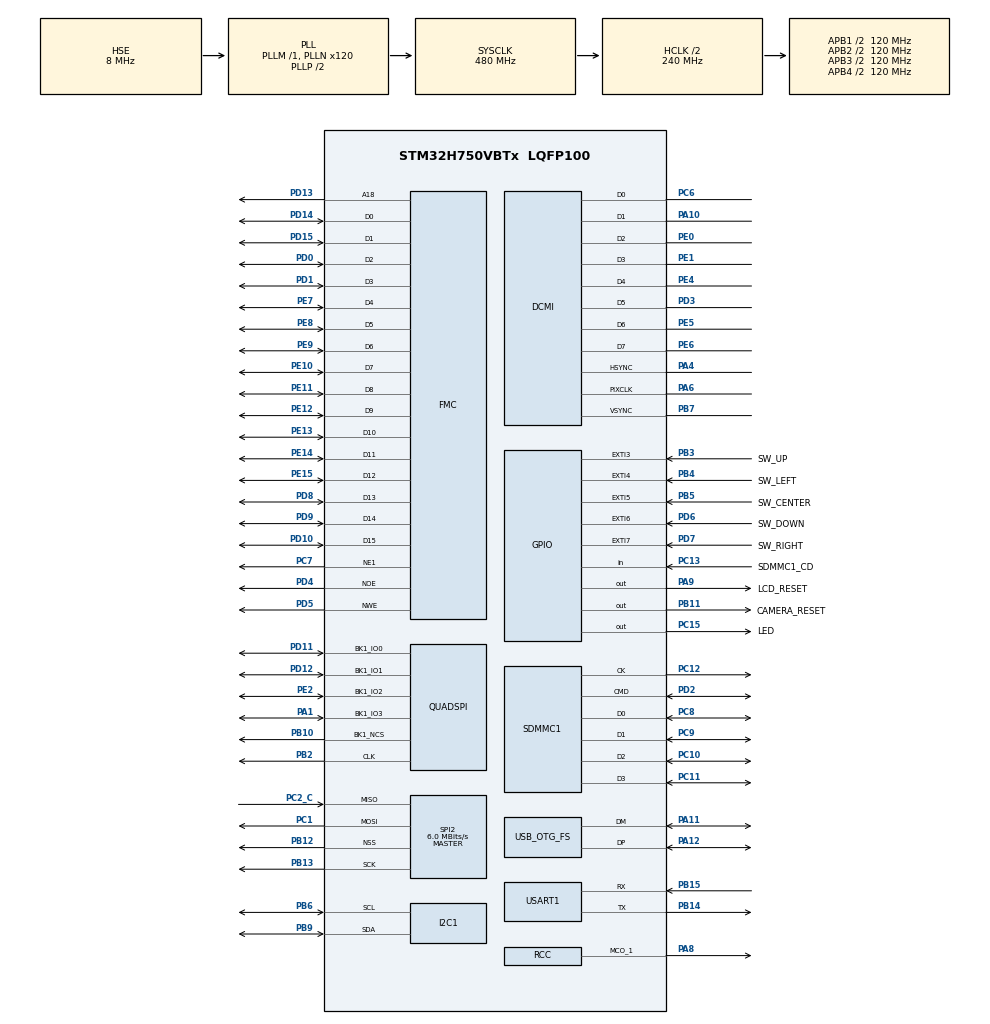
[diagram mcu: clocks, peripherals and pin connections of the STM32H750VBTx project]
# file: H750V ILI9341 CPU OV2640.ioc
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DCMI.HSPolarity=DCMI_HSPOLARITY_LOW
DCMI.PCKPolarity=DCMI_PCKPOLARITY_RISING
DCMI.VSPolarity=DCMI_VSPOLARITY_LOW
Dma.DCMI.0.Direction=DMA_PERIPH_TO_MEMORY
Dma.DCMI.0.EventEnable=DISABLE
Dma.DCMI.0.FIFOMode=DMA_FIFOMODE_ENABLE
Dma.DCMI.0.FIFOThreshold=DMA_FIFO_THRESHOLD_FULL
Dma.DCMI.0.Instance=DMA2_Stream1
Dma.DCMI.0.MemBurst=DMA_MBURST_SINGLE
Dma.DCMI.0.MemDataAlignment=DMA_MDATAALIGN_WORD
Dma.DCMI.0.MemInc=DMA_MINC_ENABLE
Dma.DCMI.0.Mode=DMA_CIRCULAR
Dma.DCMI.0.PeriphBurst=DMA_PBURST_SINGLE
Dma.DCMI.0.PeriphDataAlignment=DMA_PDATAALIGN_WORD
Dma.DCMI.0.PeriphInc=DMA_PINC_DISABLE
Dma.DCMI.0.Polarity=HAL_DMAMUX_REQ_GEN_RISING
Dma.DCMI.0.Priority=DMA_PRIORITY_LOW
Dma.DCMI.0.RequestNumber=1
Dma.DCMI.0.SignalID=NONE
Dma.DCMI.0.SyncEnable=DISABLE
Dma.DCMI.0.SyncPolarity=HAL_DMAMUX_SYNC_NO_EVENT
Dma.DCMI.0.SyncRequestNumber=1
Dma.DCMI.0.SyncSignalID=NONE
Dma.MEMTOMEM.1.Direction=DMA_MEMORY_TO_MEMORY
Dma.MEMTOMEM.1.EventEnable=DISABLE
Dma.MEMTOMEM.1.FIFOMode=DMA_FIFOMODE_ENABLE
Dma.MEMTOMEM.1.FIFOThreshold=DMA_FIFO_THRESHOLD_FULL
Dma.MEMTOMEM.1.Instance=DMA1_Stream0
Dma.MEMTOMEM.1.MemBurst=DMA_MBURST_SINGLE
Dma.MEMTOMEM.1.MemDataAlignment=DMA_MDATAALIGN_HALFWORD
Dma.MEMTOMEM.1.MemInc=DMA_MINC_DISABLE
Dma.MEMTOMEM.1.Mode=DMA_NORMAL
Dma.MEMTOMEM.1.PeriphBurst=DMA_PBURST_SINGLE
Dma.MEMTOMEM.1.PeriphDataAlignment=DMA_PDATAALIGN_HALFWORD
Dma.MEMTOMEM.1.PeriphInc=DMA_PINC_ENABLE
Dma.MEMTOMEM.1.Polarity=HAL_DMAMUX_REQ_GEN_RISING
Dma.MEMTOMEM.1.Priority=DMA_PRIORITY_LOW
Dma.MEMTOMEM.1.RequestNumber=1
Dma.MEMTOMEM.1.SignalID=NONE
Dma.MEMTOMEM.1.SyncEnable=DISABLE
Dma.MEMTOMEM.1.SyncPolarity=HAL_DMAMUX_SYNC_NO_EVENT
Dma.MEMTOMEM.1.SyncRequestNumber=1
Dma.MEMTOMEM.1.SyncSignalID=NONE
Dma.Request0=DCMI
Dma.Request1=MEMTOMEM
FMC.AddressSetupTime1=10
FMC.BankMapConfig=FMC_SWAPBMAP_SDRAM_SRAM
FMC.BusTurnAroundDuration1=10
FMC.DataSetupTime1=10
FMC.ExtendedAddressSetupTime1=2
FMC.ExtendedBusTurnAroundDuration1=2
FMC.ExtendedDataSetupTime1=2
FMC.ExtendedMode1=FMC_EXTENDED_MODE_ENABLE
I2C1.Timing=0x307075B1
Mcu.Family=STM32H7
Mcu.Name=STM32H750VBTx
Mcu.Package=LQFP100
NVIC.DCMI_IRQn=true\:0\:0\:false\:false\:true\:true\:true
NVIC.DMA1_Stream0_IRQn=true\:0\:0\:false\:false\:true\:true\:true
NVIC.DMA2_Stream1_IRQn=true\:0\:0\:false\:false\:true\:false\:true
NVIC.EXTI3_IRQn=true\:0\:0\:false\:false\:true\:true\:true
NVIC.EXTI4_IRQn=true\:0\:0\:false\:false\:true\:true\:true
NVIC.EXTI9_5_IRQn=true\:0\:0\:false\:false\:true\:true\:true
NVIC.PriorityGroup=NVIC_PRIORITYGROUP_4
PA1.Mode=Single Bank 1
PA1.Signal=QUADSPI_BK1_IO3
PA10.Mode=Slave_8_bits_External_Synchro
PA10.Signal=DCMI_D1
PA11.Mode=Device_Only
PA11.Signal=USB_OTG_FS_DM
PA12.Mode=Device_Only
PA12.Signal=USB_OTG_FS_DP
PA13\ (JTMS/SWDIO).Mode=Serial_Wire
PA13\ (JTMS/SWDIO).Signal=DEBUG_JTMS-SWDIO
PA14\ (JTCK/SWCLK).Mode=Serial_Wire
PA14\ (JTCK/SWCLK).Signal=DEBUG_JTCK-SWCLK
PA4.Mode=Slave_8_bits_External_Synchro
PA4.Signal=DCMI_HSYNC
PA6.Mode=Slave_8_bits_External_Synchro
PA6.Signal=DCMI_PIXCLK
PA8.Mode=Clock-out-1
PA8.Signal=RCC_MCO_1
PA9.GPIO_Label=LCD_RESET
PA9.Signal=GPIO_Output
PB10.Mode=Single Bank 1
PB10.Signal=QUADSPI_BK1_NCS
PB11.GPIO_Label=CAMERA_RESET
PB11.Signal=GPIO_Output
PB12.Mode=NSS_Signal_Hard_Output
PB12.Signal=SPI2_NSS
PB13.Mode=Full_Duplex_Master
PB13.Signal=SPI2_SCK
PB14.Mode=Asynchronous
PB14.Signal=USART1_TX
PB15.Mode=Asynchronous
PB15.Signal=USART1_RX
PB2.Mode=Single Bank 1
PB2.Signal=QUADSPI_CLK
PB3\ (JTDO/TRACESWO).GPIO_Label=SW_UP
PB3\ (JTDO/TRACESWO).GPIO_ModeDefaultEXTI=GPIO_MODE_IT_FALLING
PB3\ (JTDO/TRACESWO).GPIO_PuPd=GPIO_PULLUP
PB3\ (JTDO/TRACESWO).Signal=GPXTI3
PB4\ (NJTRST).GPIO_Label=SW_LEFT
PB4\ (NJTRST).GPIO_ModeDefaultEXTI=GPIO_MODE_IT_FALLING
PB4\ (NJTRST).GPIO_PuPd=GPIO_PULLUP
PB4\ (NJTRST).Signal=GPXTI4
PB5.GPIO_Label=SW_CENTER
PB5.GPIO_ModeDefaultEXTI=GPIO_MODE_IT_FALLING
PB5.GPIO_PuPd=GPIO_PULLUP
PB5.Signal=GPXTI5
PB6.Mode=I2C
PB6.Signal=I2C1_SCL
PB7.Mode=Slave_8_bits_External_Synchro
PB7.Signal=DCMI_VSYNC
PB9.Mode=I2C
PB9.Signal=I2C1_SDA
PC1.Mode=Full_Duplex_Master
PC1.Signal=SPI2_MOSI
PC10.Mode=SD_4_bits_Wide_bus
PC10.Signal=SDMMC1_D2
PC11.Mode=SD_4_bits_Wide_bus
PC11.Signal=SDMMC1_D3
PC12.Mode=SD_4_bits_Wide_bus
PC12.Signal=SDMMC1_CK
PC13.GPIO_Label=SDMMC1_CD
PC13.Signal=GPIO_Input
PC15-OSC32_OUT\ (OSC32_OUT).GPIO_Label=LED
PC15-OSC32_OUT\ (OSC32_OUT).Signal=GPIO_Output
PC2_C.Mode=Full_Duplex_Master
PC2_C.Signal=SPI2_MISO
PC6.Mode=Slave_8_bits_External_Synchro
PC6.Signal=DCMI_D0
PC7.Mode=NorPsramChipSelect1_1
PC7.Signal=FMC_NE1
PC8.Mode=SD_4_bits_Wide_bus
PC8.Signal=SDMMC1_D0
PC9.Mode=SD_4_bits_Wide_bus
PC9.Signal=SDMMC1_D1
PD0.Signal=FMC_D2_DA2
PD1.Signal=FMC_D3_DA3
PD10.Signal=FMC_D15_DA15
PD11.Mode=Single Bank 1
PD11.Signal=QUADSPI_BK1_IO0
PD12.Mode=Single Bank 1
PD12.Signal=QUADSPI_BK1_IO1
PD13.Signal=FMC_A18
PD14.Signal=FMC_D0_DA0
PD15.Signal=FMC_D1_DA1
PD2.Mode=SD_4_bits_Wide_bus
PD2.Signal=SDMMC1_CMD
PD3.Mode=Slave_8_bits_External_Synchro
PD3.Signal=DCMI_D5
PD4.Signal=FMC_NOE
PD5.Signal=FMC_NWE
PD6.GPIO_Label=SW_DOWN
PD6.GPIO_ModeDefaultEXTI=GPIO_MODE_IT_FALLING
PD6.GPIO_PuPd=GPIO_PULLUP
PD6.Signal=GPXTI6
PD7.GPIO_Label=SW_RIGHT
PD7.GPIO_ModeDefaultEXTI=GPIO_MODE_IT_FALLING
PD7.GPIO_PuPd=GPIO_PULLUP
PD7.Signal=GPXTI7
PD8.Signal=FMC_D13_DA13
PD9.Signal=FMC_D14_DA14
PE0.Mode=Slave_8_bits_External_Synchro
PE0.Signal=DCMI_D2
PE1.Mode=Slave_8_bits_External_Synchro
PE1.Signal=DCMI_D3
PE10.Signal=FMC_D7_DA7
PE11.Signal=FMC_D8_DA8
PE12.Signal=FMC_D9_DA9
PE13.Signal=FMC_D10_DA10
PE14.Signal=FMC_D11_DA11
PE15.Signal=FMC_D12_DA12
PE2.Mode=Single Bank 1
PE2.Signal=QUADSPI_BK1_IO2
PE4.Mode=Slave_8_bits_External_Synchro
PE4.Signal=DCMI_D4
PE5.Mode=Slave_8_bits_External_Synchro
PE5.Signal=DCMI_D6
PE6.Mode=Slave_8_bits_External_Synchro
PE6.Signal=DCMI_D7
PE7.Signal=FMC_D4_DA4
PE8.Signal=FMC_D5_DA5
PE9.Signal=FMC_D6_DA6
PH0-OSC_IN\ (PH0).Mode=HSE-External-Oscillator
PH0-OSC_IN\ (PH0).Signal=RCC_OSC_IN
PH1-OSC_OUT\ (PH1).Mode=HSE-External-Oscillator
PH1-OSC_OUT\ (PH1).Signal=RCC_OSC_OUT
ProjectManager.HeapSize=0x200
ProjectManager.StackSize=0x400
ProjectManager.TargetToolchain=STM32CubeIDE
RCC.ADCFreq_Value=120000000
RCC.APB1Freq_Value=120000000
RCC.APB2Freq_Value=120000000
RCC.APB3Freq_Value=120000000
RCC.APB4Freq_Value=120000000
RCC.CortexFreq_Value=480000000
RCC.D1PPRE=RCC_APB3_DIV2
RCC.D2PPRE1=RCC_APB1_DIV2
RCC.D2PPRE2=RCC_APB2_DIV2
RCC.D3PPRE=RCC_APB4_DIV2
RCC.DIVM1=1
RCC.DIVM2=1
RCC.DIVN1=120
RCC.DIVN2=30
RCC.DIVQ1=20
RCC.DIVR2=10
RCC.HCLKFreq_Value=240000000
RCC.HPRE=RCC_HCLK_DIV2
RCC.HSE_VALUE=8000000
RCC.PLL2FRACN=0
RCC.PLLFRACN=0
RCC.QSPICLockSelection=RCC_QSPICLKSOURCE_PLL2
RCC.RCC_MCO1Source=RCC_MCO1SOURCE_PLL1QCLK
RCC.RCC_MCODiv1=RCC_MCODIV_2
RCC.SDMMC1CLockSelection=RCC_SDMMCCLKSOURCE_PLL2
RCC.SYSCLKFreq_VALUE=480000000
RCC.SYSCLKSource=RCC_SYSCLKSOURCE_PLLCLK
RCC.USBFreq_Value=48000000
SH.FMC_A18.0=FMC_A18,A18_1
SH.FMC_D0_DA0.0=FMC_D0,16b-d1
SH.FMC_D10_DA10.0=FMC_D10,16b-d1
SH.FMC_D11_DA11.0=FMC_D11,16b-d1
SH.FMC_D12_DA12.0=FMC_D12,16b-d1
SH.FMC_D13_DA13.0=FMC_D13,16b-d1
SH.FMC_D14_DA14.0=FMC_D14,16b-d1
SH.FMC_D15_DA15.0=FMC_D15,16b-d1
SH.FMC_D1_DA1.0=FMC_D1,16b-d1
SH.FMC_D2_DA2.0=FMC_D2,16b-d1
SH.FMC_D3_DA3.0=FMC_D3,16b-d1
SH.FMC_D4_DA4.0=FMC_D4,16b-d1
SH.FMC_D5_DA5.0=FMC_D5,16b-d1
SH.FMC_D6_DA6.0=FMC_D6,16b-d1
SH.FMC_D7_DA7.0=FMC_D7,16b-d1
SH.FMC_D8_DA8.0=FMC_D8,16b-d1
SH.FMC_D9_DA9.0=FMC_D9,16b-d1
SH.FMC_NOE.0=FMC_NOE,Lcd1
SH.FMC_NWE.0=FMC_NWE,Lcd1
SPI2.BaudRatePrescaler=SPI_BAUDRATEPRESCALER_8
SPI2.CalculateBaudRate=6.0 MBits/s
SPI2.DataSize=SPI_DATASIZE_8BIT
SPI2.Direction=SPI_DIRECTION_2LINES
SPI2.Mode=SPI_MODE_MASTER
SPI2.VirtualNSS=VM_NSSHARD
SPI2.VirtualType=VM_MASTER
USART1.VirtualMode-Asynchronous=VM_ASYNC
USB_OTG_FS.VirtualMode=Device_Only
board=custom

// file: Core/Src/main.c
/* USER CODE BEGIN Header */
/**
  ******************************************************************************
  * @file           : main.c
  * @brief          : Main program body
  ******************************************************************************
  * @attention
  *
  * <h2><center>&copy; Copyright (c) 2020 STMicroelectronics.
  * All rights reserved.</center></h2>
  *
  * This software component is licensed by ST under BSD 3-Clause license,
  * the "License"; You may not use this file except in compliance with the
  * License. You may obtain a copy of the License at:
  *                        opensource.org/licenses/BSD-3-Clause
  *
  ******************************************************************************
  */
/* USER CODE END Header */

#include "main.h"
#include "dcmi.h"
#include "dma.h"
#include "i2c.h"
#include "quadspi.h"
#include "sdmmc.h"
#include "spi.h"
#include "usart.h"
#include "usb_otg.h"
#include "gpio.h"
#include "fmc.h"

/* USER CODE BEGIN Includes */
#include "ILI9341CPU.h"
#include "ov2640.h"

/* USER CODE END Includes */

/* USER CODE BEGIN PV */
/* DMA로 이미지(FrameBuffer)를 LCD로 보낼 때는 320x240=76,800으로 64K가 넘으므로
 * 한 번에 보낼 수 없다.  따라서 DCMI에서 한 프레임이 전달되었을 때 320x200만큼
 * 먼저 보내고, 다음에 나머지 320x40만큼을 보내기로 한다.
 */

uint16_t FrameBuffer[320 * 240];	// 카메라로 부터 들어오는 이미지 데이터의 프레임버퍼
uint32_t RemaindImage = (uint32_t)FrameBuffer + (320 * 200) * 2; // RGB565 2Byte이므로 곱하기 2
uint32_t Remainder = 0;			// 2번 나누어보내는 것 표시
uint32_t CameraInit = 0;		// 카메라가 초기화 되었슴
uint32_t UpdateCameraFrame = 0;		// 카메라로부터 새로운 이미지가 들어옴

/* USER CODE END PV */

void SystemClock_Config(void);
/* USER CODE BEGIN PFP */
static void TransferComplete(DMA_HandleTypeDef *hdma_memtomem_dma1_stream0);

/* USER CODE END PFP */

/* USER CODE BEGIN 0 */
void HAL_SYSTICK_Callback(void)
{
	static int cnt = -1000;

	cnt++;
	if(cnt > 500)
	{
		cnt = 0;

		HAL_GPIO_TogglePin(LED_GPIO_Port, LED_Pin);	// 보드의 LED를 깜빡이게 하자
	}
}
/* USER CODE END 0 */

int main(void)
{

  /* MCU Configuration--------------------------------------------------------*/

  /* Reset of all peripherals, Initializes the Flash interface and the Systick. */
  HAL_Init();

  /* Configure the system clock */
  SystemClock_Config();

  /* Initialize all configured peripherals */
  MX_GPIO_Init();
  MX_DMA_Init();
  MX_QUADSPI_Init();
  MX_SDMMC1_SD_Init();
  MX_USART1_UART_Init();
  MX_USB_OTG_FS_PCD_Init();
  MX_DCMI_Init();
  MX_FMC_Init();
  MX_I2C1_Init();
  MX_SPI2_Init();
  /* USER CODE BEGIN 2 */
  LCD_Init();

  volatile uint32_t id = LCD_Read_ID();
  (void)id;		// 컴파일러 경고 무시하게

  LCD_direction(1);
  LCD_Clear(RED);
  HAL_Delay(500);
  LCD_Clear(GREEN);
  HAL_Delay(500);
  LCD_Clear(BLUE);
  HAL_Delay(500);

  volatile uint32_t idc = ov2640_ReadID(CAMERA_I2C_ADDRESS);
  (void)idc;

  ov2640_Init(CAMERA_I2C_ADDRESS, CAMERA_R320x240);
//  ov2640_Config(CAMERA_I2C_ADDRESS, uint32_t feature, uint32_t value, uint32_t brightness_value)

  CameraInit = 1;
	UpdateCameraFrame = 0;

	// DMA로 이미지를 LCD에 전송할 때, 2개로 나눈 나머지를 보내기 위해 CPTL 콜백함수 등록
  HAL_DMA_RegisterCallback(&hdma_memtomem_dma1_stream0, HAL_DMA_XFER_CPLT_CB_ID, TransferComplete);

  // 디지탈 카메라 전송 시작. DCMI의 DMA Mode를 Circula로 하여 계속 이미지를 읽어오게 하였다.
	HAL_DCMI_Start_DMA(&hdcmi, DCMI_MODE_CONTINUOUS, (uint32_t)(&FrameBuffer), (320 * 240) / 2);

  /* USER CODE END 2 */

  /* Infinite loop */
  /* USER CODE BEGIN WHILE */

  while (1)
  {
  	if(UpdateCameraFrame)		// 디지탈 카메라로부터 1프레임 들어왔슴.
  	{
  		UpdateCameraFrame = 0;

  		//LCD_puts_image_RGB565((const uint16_t *)FrameBuffer);				// 그냥 전송
  		LCD_puts_image_RGB565_DMA((const uint16_t *)FrameBuffer);			// DMA 전송
  		Remainder = 1;	// 나머지 보낼 것이 있음을 표시
  	}

    /* USER CODE END WHILE */

  }
}

void SystemClock_Config(void)
{
  RCC_OscInitTypeDef RCC_OscInitStruct = {0};
  RCC_ClkInitTypeDef RCC_ClkInitStruct = {0};
  RCC_PeriphCLKInitTypeDef PeriphClkInitStruct = {0};

  /** Supply configuration update enable
  */
  HAL_PWREx_ConfigSupply(PWR_LDO_SUPPLY);
  /** Configure the main internal regulator output voltage
  */
  __HAL_PWR_VOLTAGESCALING_CONFIG(PWR_REGULATOR_VOLTAGE_SCALE0);

  while(!__HAL_PWR_GET_FLAG(PWR_FLAG_VOSRDY)) {}
  /** Macro to configure the PLL clock source
  */
  __HAL_RCC_PLL_PLLSOURCE_CONFIG(RCC_PLLSOURCE_HSE);
  /** Initializes the CPU, AHB and APB busses clocks
  */
  RCC_OscInitStruct.OscillatorType = RCC_OSCILLATORTYPE_HSE;
  RCC_OscInitStruct.HSEState = RCC_HSE_ON;
  RCC_OscInitStruct.PLL.PLLState = RCC_PLL_ON;
  RCC_OscInitStruct.PLL.PLLSource = RCC_PLLSOURCE_HSE;
  RCC_OscInitStruct.PLL.PLLM = 1;
  RCC_OscInitStruct.PLL.PLLN = 120;
  RCC_OscInitStruct.PLL.PLLP = 2;
  RCC_OscInitStruct.PLL.PLLQ = 20;
  RCC_OscInitStruct.PLL.PLLR = 2;
  RCC_OscInitStruct.PLL.PLLRGE = RCC_PLL1VCIRANGE_3;
  RCC_OscInitStruct.PLL.PLLVCOSEL = RCC_PLL1VCOWIDE;
  RCC_OscInitStruct.PLL.PLLFRACN = 0;
  if (HAL_RCC_OscConfig(&RCC_OscInitStruct) != HAL_OK)
  {
    Error_Handler();
  }
  /** Initializes the CPU, AHB and APB busses clocks
  */
  RCC_ClkInitStruct.ClockType = RCC_CLOCKTYPE_HCLK|RCC_CLOCKTYPE_SYSCLK
                              |RCC_CLOCKTYPE_PCLK1|RCC_CLOCKTYPE_PCLK2
                              |RCC_CLOCKTYPE_D3PCLK1|RCC_CLOCKTYPE_D1PCLK1;
  RCC_ClkInitStruct.SYSCLKSource = RCC_SYSCLKSOURCE_PLLCLK;
  RCC_ClkInitStruct.SYSCLKDivider = RCC_SYSCLK_DIV1;
  RCC_ClkInitStruct.AHBCLKDivider = RCC_HCLK_DIV2;
  RCC_ClkInitStruct.APB3CLKDivider = RCC_APB3_DIV2;
  RCC_ClkInitStruct.APB1CLKDivider = RCC_APB1_DIV2;
  RCC_ClkInitStruct.APB2CLKDivider = RCC_APB2_DIV2;
  RCC_ClkInitStruct.APB4CLKDivider = RCC_APB4_DIV2;

  if (HAL_RCC_ClockConfig(&RCC_ClkInitStruct, FLASH_LATENCY_4) != HAL_OK)
  {
    Error_Handler();
  }
  PeriphClkInitStruct.PeriphClockSelection = RCC_PERIPHCLK_USART1|RCC_PERIPHCLK_SPI2
                              |RCC_PERIPHCLK_SDMMC|RCC_PERIPHCLK_I2C1
                              |RCC_PERIPHCLK_USB|RCC_PERIPHCLK_QSPI
                              |RCC_PERIPHCLK_FMC;
  PeriphClkInitStruct.PLL2.PLL2M = 1;
  PeriphClkInitStruct.PLL2.PLL2N = 30;
  PeriphClkInitStruct.PLL2.PLL2P = 2;
  PeriphClkInitStruct.PLL2.PLL2Q = 2;
  PeriphClkInitStruct.PLL2.PLL2R = 10;
  PeriphClkInitStruct.PLL2.PLL2RGE = RCC_PLL2VCIRANGE_3;
  PeriphClkInitStruct.PLL2.PLL2VCOSEL = RCC_PLL2VCOWIDE;
  PeriphClkInitStruct.PLL2.PLL2FRACN = 0;
  PeriphClkInitStruct.FmcClockSelection = RCC_FMCCLKSOURCE_D1HCLK;
  PeriphClkInitStruct.QspiClockSelection = RCC_QSPICLKSOURCE_PLL2;
  PeriphClkInitStruct.SdmmcClockSelection = RCC_SDMMCCLKSOURCE_PLL2;
  PeriphClkInitStruct.Spi123ClockSelection = RCC_SPI123CLKSOURCE_PLL;
  PeriphClkInitStruct.Usart16ClockSelection = RCC_USART16CLKSOURCE_D2PCLK2;
  PeriphClkInitStruct.I2c123ClockSelection = RCC_I2C123CLKSOURCE_D2PCLK1;
  PeriphClkInitStruct.UsbClockSelection = RCC_USBCLKSOURCE_PLL;
  if (HAL_RCCEx_PeriphCLKConfig(&PeriphClkInitStruct) != HAL_OK)
  {
    Error_Handler();
  }
  HAL_RCC_MCOConfig(RCC_MCO1, RCC_MCO1SOURCE_PLL1QCLK, RCC_MCODIV_2);
  /** Enable USB Voltage detector
  */
  HAL_PWREx_EnableUSBVoltageDetector();
}

/* USER CODE BEGIN 4 */

// 카메라에서 한 프레임이 모두 전송되었을 때 불려짐
// 여기서 바로 LCD로의 DMA를 시작해도 되지만, 나중에 영상처리 등의 작업등을 생각해서 플래그만 세우고
// 메인루프에서 처리하도록 하자.
void HAL_DCMI_FrameEventCallback(DCMI_HandleTypeDef *hdcmi)
{
  UpdateCameraFrame = 1;
  //HAL_GPIO_TogglePin(LED_GPIO_Port, LED_Pin);
}

// 카메라에서 VSYNC 이벤트가 발생했슴
void HAL_DCMI_VsyncEventCallback(DCMI_HandleTypeDef *hdcmi)
{
}

// 카메라에서 한 라인이 들어왔슴
void HAL_DCMI_LineEventCallback(DCMI_HandleTypeDef *hdcmi)
{
}

// 프레임 버퍼에서 DMA로 LCD로 전송이 완료되었슴.
// 데이터 수가 320x240=76800, 즉 64K를 넘으므로 2번에 나누어서 전송해야 함.
// Remainder = 1 일 때가 첫번째 전송 완료이고, Remainder = 0 일 때가 나머지 2번째 전송 끝.
static void TransferComplete(DMA_HandleTypeDef *hdma_memtomem_dma1_stream0)
{
 	if(Remainder) LCD_puts_image_RGB565_DMA_REMAINDER(RemaindImage);
 	Remainder = 0;
}

// 버튼 스위치가 눌렸슴
void HAL_GPIO_EXTI_Callback(uint16_t GPIO_Pin)
{
	switch(GPIO_Pin)
	{
		case SW_CENTER_Pin:
			break;

		case SW_UP_Pin:
			break;

		case SW_DOWN_Pin:
			break;

		case SW_LEFT_Pin:
			break;

		case SW_RIGHT_Pin:
			break;
	}
}
/* USER CODE END 4 */

void Error_Handler(void)
{
}

/************************ (C) COPYRIGHT STMicroelectronics *****END OF FILE****/
